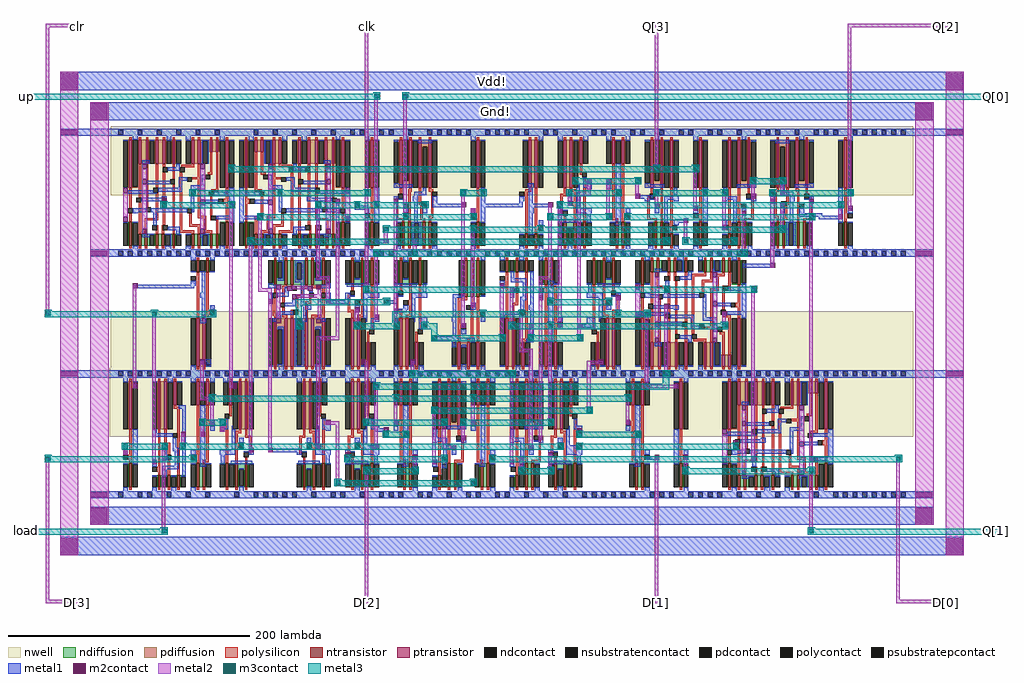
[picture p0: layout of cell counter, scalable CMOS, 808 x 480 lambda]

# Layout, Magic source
magic
tech scmos
<< metal1 >>
rect 30 425 778 440
rect 55 400 753 415
rect 30 387 778 393
rect 138 338 142 346
rect 210 338 214 346
rect 463 344 470 352
rect 626 338 630 348
rect 506 335 521 338
rect 274 326 285 329
rect 330 323 334 332
rect 338 331 342 334
rect 410 331 413 334
rect 338 328 365 331
rect 378 328 413 331
rect 418 328 437 331
rect 418 323 422 328
rect 626 323 630 332
rect 642 321 661 323
rect 642 320 677 321
rect 658 318 677 320
rect 539 315 549 318
rect 291 298 301 301
rect 55 287 753 293
rect 595 278 621 281
rect 90 261 141 264
rect 402 257 407 261
rect 202 248 206 257
rect 250 251 254 257
rect 266 251 269 256
rect 306 251 309 256
rect 530 253 534 262
rect 250 248 269 251
rect 298 248 309 251
rect 306 241 317 244
rect 327 228 334 236
rect 466 231 473 236
rect 458 228 473 231
rect 338 218 358 221
rect 354 212 358 218
rect 146 198 155 202
rect 30 187 778 193
rect 247 144 254 152
rect 291 142 301 145
rect 130 133 134 142
rect 202 125 229 128
rect 241 123 246 132
rect 281 126 294 131
rect 449 126 462 131
rect 114 119 119 123
rect 346 112 350 122
rect 410 112 414 122
rect 515 119 525 122
rect 602 118 606 127
rect 55 87 753 93
rect 55 65 753 80
rect 30 40 778 55
<< metal2 >>
rect 18 477 45 480
rect 18 238 21 477
rect 18 3 21 121
rect 30 40 45 440
rect 55 65 70 415
rect 90 178 93 264
rect 82 123 86 132
rect 106 115 109 241
rect 146 171 149 201
rect 170 178 173 331
rect 146 168 157 171
rect 114 58 117 131
rect 130 128 133 141
rect 146 138 149 151
rect 154 148 157 168
rect 162 142 166 152
rect 186 125 189 301
rect 194 261 197 321
rect 242 271 245 331
rect 242 268 253 271
rect 194 258 205 261
rect 202 125 205 258
rect 250 248 253 268
rect 258 221 261 334
rect 282 258 285 480
rect 290 328 293 421
rect 298 298 301 311
rect 274 228 277 244
rect 290 235 293 291
rect 306 228 309 334
rect 314 321 317 421
rect 522 358 525 480
rect 682 477 765 480
rect 466 341 469 351
rect 322 288 325 301
rect 362 228 365 341
rect 370 318 374 327
rect 370 245 373 311
rect 434 271 437 331
rect 426 268 437 271
rect 242 218 261 221
rect 394 218 397 264
rect 402 228 405 261
rect 242 128 245 218
rect 410 211 413 241
rect 418 218 421 231
rect 410 208 421 211
rect 250 148 261 151
rect 282 148 285 201
rect 320 188 323 201
rect 258 98 261 148
rect 290 128 293 181
rect 306 148 309 171
rect 18 0 45 3
rect 282 0 285 111
rect 322 108 325 122
rect 338 115 341 161
rect 346 131 349 151
rect 362 135 365 151
rect 370 148 373 171
rect 346 128 357 131
rect 402 115 405 191
rect 418 127 421 208
rect 426 135 429 268
rect 434 148 437 231
rect 442 228 445 331
rect 450 329 453 341
rect 458 338 469 341
rect 458 218 461 338
rect 482 318 485 351
rect 506 335 509 351
rect 522 327 525 341
rect 554 325 557 361
rect 546 298 549 318
rect 578 309 581 341
rect 602 335 605 351
rect 594 288 597 324
rect 618 278 621 341
rect 626 338 629 351
rect 626 308 629 331
rect 490 238 493 254
rect 466 198 479 201
rect 466 158 469 198
rect 514 181 517 241
rect 530 188 533 247
rect 578 228 581 241
rect 514 178 541 181
rect 498 148 501 171
rect 410 108 413 121
rect 434 108 437 124
rect 522 0 525 122
rect 546 108 549 122
rect 602 118 605 261
rect 650 58 653 334
rect 674 318 677 331
rect 682 325 685 477
rect 722 3 725 121
rect 738 65 753 415
rect 763 40 778 440
rect 722 0 765 3
<< metal3 >>
rect 0 417 294 422
rect 313 417 808 422
rect 169 357 558 362
rect 454 347 510 352
rect 601 347 630 352
rect 137 337 286 342
rect 361 337 382 342
rect 449 337 494 342
rect 521 337 582 342
rect 617 337 686 342
rect 113 327 174 332
rect 241 327 334 332
rect 441 327 678 332
rect 193 317 374 322
rect 433 317 486 322
rect 497 317 654 322
rect 297 307 630 312
rect 185 297 534 302
rect 545 297 590 302
rect 289 287 598 292
rect 281 257 606 262
rect 225 247 302 252
rect 433 247 486 252
rect 17 237 158 242
rect 225 227 230 247
rect 305 237 518 242
rect 305 232 310 237
rect 273 227 310 232
rect 329 227 342 232
rect 401 227 582 232
rect 337 222 342 227
rect 337 217 398 222
rect 417 217 462 222
rect 319 187 406 192
rect 529 182 534 192
rect 289 177 534 182
rect 153 167 502 172
rect 337 157 470 162
rect 145 147 166 152
rect 281 147 350 152
rect 361 147 438 152
rect 297 137 318 142
rect 457 137 510 142
rect 81 127 118 132
rect 129 127 446 132
rect 457 127 591 132
rect 17 117 142 122
rect 265 117 350 122
rect 385 117 726 122
rect 281 107 326 112
rect 409 107 438 112
rect 545 107 654 112
rect 257 97 374 102
rect 0 57 118 62
rect 649 57 808 62
use $$M2_M1_1500_1500_3_3  $$M2_M1_1500_1500_3_3_0
transform 1 0 37 0 1 432
box -7 -7 7 7
use $$M2_M1_1500_1500_3_3  $$M2_M1_1500_1500_3_3_1
transform 1 0 770 0 1 432
box -7 -7 7 7
use $$M3_M2  $$M3_M2_0
transform 1 0 292 0 1 420
box -3 -3 3 3
use $$M3_M2  $$M3_M2_1
transform 1 0 316 0 1 420
box -3 -3 3 3
use $$M2_M1_1500_1500_3_3  $$M2_M1_1500_1500_3_3_2
transform 1 0 62 0 1 407
box -7 -7 7 7
use $$M2_M1_1500_1500_3_3  $$M2_M1_1500_1500_3_3_3
transform 1 0 745 0 1 407
box -7 -7 7 7
use $$M2_M1_1500_1500_3_1  $$M2_M1_1500_1500_3_1_0
transform 1 0 37 0 1 390
box -7 -2 7 2
use $$M2_M1  $$M2_M1_0
transform 1 0 172 0 1 360
box -2 -2 2 2
use $$M3_M2  $$M3_M2_2
transform 1 0 172 0 1 360
box -3 -3 3 3
use $$M2_M1  $$M2_M1_1
transform 1 0 140 0 1 340
box -2 -2 2 2
use $$M3_M2  $$M3_M2_3
transform 1 0 140 0 1 340
box -3 -3 3 3
use $$M2_M1  $$M2_M1_2
transform 1 0 212 0 1 340
box -2 -2 2 2
use $$M3_M2  $$M3_M2_4
transform 1 0 212 0 1 340
box -3 -3 3 3
use $$M2_M1  $$M2_M1_3
transform 1 0 116 0 1 334
box -2 -2 2 2
use $$M3_M2  $$M3_M2_6
transform 1 0 116 0 1 330
box -3 -3 3 3
use $$M3_M2  $$M3_M2_7
transform 1 0 172 0 1 330
box -3 -3 3 3
use $$M3_M2  $$M3_M2_8
transform 1 0 244 0 1 330
box -3 -3 3 3
use $$M2_M1  $$M2_M1_4
transform 1 0 260 0 1 333
box -2 -2 2 2
use $$M2_M1  $$M2_M1_6
transform 1 0 196 0 1 320
box -2 -2 2 2
use $$M3_M2  $$M3_M2_11
transform 1 0 196 0 1 320
box -3 -3 3 3
use $$M3_M2  $$M3_M2_12
transform 1 0 188 0 1 300
box -3 -3 3 3
use $$M3_M2  $$M3_M2_5
transform 1 0 284 0 1 340
box -3 -3 3 3
use $$M2_M1  $$M2_M1_5
transform 1 0 276 0 1 330
box -2 -2 2 2
use $$M3_M2  $$M3_M2_9
transform 1 0 276 0 1 330
box -3 -3 3 3
use $$M3_M2  $$M3_M2_10
transform 1 0 292 0 1 330
box -3 -3 3 3
use $$M2_M1  $$M2_M1_7
transform 1 0 308 0 1 333
box -2 -2 2 2
use $$M3_M2  $$M3_M2_15
transform 1 0 300 0 1 310
box -3 -3 3 3
use $$M2_M1  $$M2_M1_10
transform 1 0 300 0 1 300
box -2 -2 2 2
use $$M2_M1  $$M2_M1_8
transform 1 0 332 0 1 330
box -2 -2 2 2
use $$M3_M2  $$M3_M2_13
transform 1 0 332 0 1 330
box -3 -3 3 3
use $$M2_M1  $$M2_M1_9
transform 1 0 316 0 1 322
box -2 -2 2 2
use $$M3_M2  $$M3_M2_14
transform 1 0 316 0 1 320
box -3 -3 3 3
use $$M2_M1  $$M2_M1_11
transform 1 0 324 0 1 300
box -2 -2 2 2
use $$M3_M2  $$M3_M2_19
transform 1 0 364 0 1 340
box -3 -3 3 3
use $$M2_M1  $$M2_M1_19
transform 1 0 364 0 1 330
box -2 -2 2 2
use $$M2_M1  $$M2_M1_15
transform 1 0 380 0 1 340
box -2 -2 2 2
use $$M3_M2  $$M3_M2_20
transform 1 0 380 0 1 340
box -3 -3 3 3
use $$M2_M1  $$M2_M1_21
transform 1 0 372 0 1 325
box -2 -2 2 2
use $$M3_M2  $$M3_M2_25
transform 1 0 372 0 1 320
box -3 -3 3 3
use $$M3_M2  $$M3_M2_29
transform 1 0 372 0 1 310
box -3 -3 3 3
use $$M2_M1  $$M2_M1_12
transform 1 0 457 0 1 350
box -2 -2 2 2
use $$M3_M2  $$M3_M2_17
transform 1 0 457 0 1 350
box -3 -3 3 3
use $$M2_M1  $$M2_M1_13
transform 1 0 468 0 1 350
box -2 -2 2 2
use $$M3_M2  $$M3_M2_21
transform 1 0 452 0 1 340
box -3 -3 3 3
use $$M2_M1  $$M2_M1_20
transform 1 0 436 0 1 330
box -2 -2 2 2
use $$M3_M2  $$M3_M2_24
transform 1 0 444 0 1 330
box -3 -3 3 3
use $$M2_M1  $$M2_M1_18
transform 1 0 452 0 1 331
box -2 -2 2 2
use $$M3_M2  $$M3_M2_26
transform 1 0 436 0 1 320
box -3 -3 3 3
use $$M2_M1  $$M2_M1_23
transform 1 0 444 0 1 323
box -2 -2 2 2
use $$M2_M1  $$M2_M1_25
transform 1 0 428 0 1 311
box -2 -2 2 2
use $$M3_M2  $$M3_M2_30
transform 1 0 428 0 1 310
box -3 -3 3 3
use $$M2_M1  $$M2_M1_14
transform 1 0 484 0 1 350
box -2 -2 2 2
use $$M2_M1  $$M2_M1_16
transform 1 0 492 0 1 340
box -2 -2 2 2
use $$M3_M2  $$M3_M2_22
transform 1 0 492 0 1 340
box -3 -3 3 3
use $$M3_M2  $$M3_M2_27
transform 1 0 484 0 1 320
box -3 -3 3 3
use $$M3_M2  $$M3_M2_18
transform 1 0 508 0 1 350
box -3 -3 3 3
use $$M2_M1  $$M2_M1_17
transform 1 0 508 0 1 337
box -2 -2 2 2
use $$M2_M1  $$M2_M1_24
transform 1 0 500 0 1 321
box -2 -2 2 2
use $$M3_M2  $$M3_M2_28
transform 1 0 500 0 1 320
box -3 -3 3 3
use $$M3_M2  $$M3_M2_16
transform 1 0 524 0 1 360
box -3 -3 3 3
use $$M3_M2  $$M3_M2_23
transform 1 0 524 0 1 340
box -3 -3 3 3
use $$M2_M1  $$M2_M1_22
transform 1 0 524 0 1 329
box -2 -2 2 2
use $$M2_M1  $$M2_M1_29
transform 1 0 532 0 1 300
box -2 -2 2 2
use $$M3_M2  $$M3_M2_33
transform 1 0 532 0 1 300
box -3 -3 3 3
use $$M3_M2  $$M3_M2_31
transform 1 0 556 0 1 360
box -3 -3 3 3
use $$M2_M1  $$M2_M1_26
transform 1 0 564 0 1 340
box -2 -2 2 2
use $$M3_M2  $$M3_M2_32
transform 1 0 564 0 1 340
box -3 -3 3 3
use $$M3_M2  $$M3_M2_38
transform 1 0 580 0 1 340
box -3 -3 3 3
use $$M2_M1  $$M2_M1_27
transform 1 0 556 0 1 327
box -2 -2 2 2
use $$M2_M1  $$M2_M1_28
transform 1 0 548 0 1 317
box -2 -2 2 2
use $$M3_M2  $$M3_M2_34
transform 1 0 548 0 1 300
box -3 -3 3 3
use $$M3_M2  $$M3_M2_37
transform 1 0 604 0 1 350
box -3 -3 3 3
use $$M2_M1  $$M2_M1_30
transform 1 0 604 0 1 337
box -2 -2 2 2
use $$M2_M1  $$M2_M1_31
transform 1 0 596 0 1 323
box -2 -2 2 2
use $$M2_M1  $$M2_M1_32
transform 1 0 580 0 1 311
box -2 -2 2 2
use $$M2_M1  $$M2_M1_33
transform 1 0 588 0 1 300
box -2 -2 2 2
use $$M3_M2  $$M3_M2_39
transform 1 0 588 0 1 300
box -3 -3 3 3
use $$M3_M2  $$M3_M2_41
transform 1 0 628 0 1 350
box -3 -3 3 3
use $$M3_M2  $$M3_M2_42
transform 1 0 620 0 1 340
box -3 -3 3 3
use $$M2_M1  $$M2_M1_34
transform 1 0 628 0 1 340
box -2 -2 2 2
use $$M2_M1  $$M2_M1_35
transform 1 0 620 0 1 333
box -2 -2 2 2
use $$M2_M1  $$M2_M1_37
transform 1 0 628 0 1 330
box -2 -2 2 2
use $$M2_M1  $$M2_M1_36
transform 1 0 652 0 1 333
box -2 -2 2 2
use $$M3_M2  $$M3_M2_43
transform 1 0 652 0 1 320
box -3 -3 3 3
use $$M3_M2  $$M3_M2_44
transform 1 0 628 0 1 310
box -3 -3 3 3
use $$M3_M2  $$M3_M2_45
transform 1 0 684 0 1 340
box -3 -3 3 3
use $$M3_M2  $$M3_M2_46
transform 1 0 676 0 1 330
box -3 -3 3 3
use $$M2_M1  $$M2_M1_38
transform 1 0 684 0 1 327
box -2 -2 2 2
use $$M2_M1  $$M2_M1_39
transform 1 0 676 0 1 320
box -2 -2 2 2
use $$M2_M1_1500_1500_3_1  $$M2_M1_1500_1500_3_1_2
transform 1 0 770 0 1 390
box -7 -2 7 2
use $$M2_M1_1500_1500_3_1  $$M2_M1_1500_1500_3_1_1
transform 1 0 62 0 1 290
box -7 -2 7 2
use DFFPOSX1  DFFPOSX1_0
transform 1 0 80 0 1 290
box -8 -3 104 105
use DFFPOSX1  DFFPOSX1_1
transform -1 0 272 0 1 290
box -8 -3 104 105
use FILL  FILL_0
transform -1 0 280 0 1 290
box -8 -3 16 105
use $$M3_M2  $$M3_M2_35
transform 1 0 292 0 1 290
box -3 -3 3 3
use INVX2  INVX2_0
transform 1 0 280 0 1 290
box -9 -3 26 105
use FILL  FILL_1
transform -1 0 304 0 1 290
box -8 -3 16 105
use $$M3_M2  $$M3_M2_36
transform 1 0 324 0 1 290
box -3 -3 3 3
use AOI22X1  AOI22X1_0
transform 1 0 304 0 1 290
box -8 -3 46 105
use FILL  FILL_2
transform -1 0 352 0 1 290
box -8 -3 16 105
use FILL  FILL_3
transform -1 0 360 0 1 290
box -8 -3 16 105
use FILL  FILL_4
transform -1 0 368 0 1 290
box -8 -3 16 105
use INVX2  INVX2_1
transform 1 0 368 0 1 290
box -9 -3 26 105
use FILL  FILL_5
transform -1 0 392 0 1 290
box -8 -3 16 105
use FILL  FILL_6
transform -1 0 400 0 1 290
box -8 -3 16 105
use FILL  FILL_7
transform -1 0 408 0 1 290
box -8 -3 16 105
use NOR2X1  NOR2X1_0
transform -1 0 432 0 1 290
box -8 -3 32 105
use FILL  FILL_8
transform -1 0 440 0 1 290
box -8 -3 16 105
use OAI21X1  OAI21X1_0
transform 1 0 440 0 1 290
box -8 -3 34 105
use FILL  FILL_9
transform -1 0 480 0 1 290
box -8 -3 16 105
use NAND2X1  NAND2X1_0
transform -1 0 504 0 1 290
box -8 -3 32 105
use FILL  FILL_10
transform -1 0 512 0 1 290
box -8 -3 16 105
use AOI21X1  AOI21X1_0
transform 1 0 512 0 1 290
box -7 -3 39 105
use FILL  FILL_31
transform -1 0 552 0 1 290
box -8 -3 16 105
use INVX2  INVX2_2
transform 1 0 552 0 1 290
box -9 -3 26 105
use FILL  FILL_32
transform -1 0 576 0 1 290
box -8 -3 16 105
use $$M3_M2  $$M3_M2_40
transform 1 0 596 0 1 290
box -3 -3 3 3
use AOI21X1  AOI21X1_1
transform -1 0 608 0 1 290
box -7 -3 39 105
use FILL  FILL_35
transform -1 0 616 0 1 290
box -8 -3 16 105
use AOI22X1  AOI22X1_1
transform -1 0 656 0 1 290
box -8 -3 46 105
use FILL  FILL_36
transform -1 0 664 0 1 290
box -8 -3 16 105
use FILL  FILL_37
transform -1 0 672 0 1 290
box -8 -3 16 105
use INVX2  INVX2_3
transform -1 0 688 0 1 290
box -9 -3 26 105
use FILL  FILL_38
transform -1 0 696 0 1 290
box -8 -3 16 105
use FILL  FILL_39
transform -1 0 704 0 1 290
box -8 -3 16 105
use FILL  FILL_40
transform -1 0 712 0 1 290
box -8 -3 16 105
use FILL  FILL_41
transform -1 0 720 0 1 290
box -8 -3 16 105
use FILL  FILL_42
transform -1 0 728 0 1 290
box -8 -3 16 105
use $$M2_M1_1500_1500_3_1  $$M2_M1_1500_1500_3_1_3
transform 1 0 745 0 1 290
box -7 -2 7 2
use $$M3_M2  $$M3_M2_53
transform 1 0 20 0 1 240
box -3 -3 3 3
use $$M2_M1  $$M2_M1_41
transform 1 0 92 0 1 263
box -2 -2 2 2
use $$M3_M2  $$M3_M2_54
transform 1 0 108 0 1 240
box -3 -3 3 3
use $$M2_M1  $$M2_M1_53
transform 1 0 156 0 1 241
box -2 -2 2 2
use $$M3_M2  $$M3_M2_55
transform 1 0 156 0 1 240
box -3 -3 3 3
use $$M2_M1  $$M2_M1_67
transform 1 0 148 0 1 200
box -2 -2 2 2
use $$M2_M1  $$M2_M1_47
transform 1 0 204 0 1 250
box -2 -2 2 2
use $$M2_M1  $$M2_M1_48
transform 1 0 252 0 1 250
box -2 -2 2 2
use $$M2_M1  $$M2_M1_60
transform 1 0 228 0 1 230
box -2 -2 2 2
use $$M3_M2  $$M3_M2_60
transform 1 0 228 0 1 230
box -3 -3 3 3
use $$M3_M2  $$M3_M2_47
transform 1 0 284 0 1 260
box -3 -3 3 3
use $$M2_M1  $$M2_M1_51
transform 1 0 276 0 1 243
box -2 -2 2 2
use $$M2_M1  $$M2_M1_49
transform 1 0 300 0 1 250
box -2 -2 2 2
use $$M3_M2  $$M3_M2_50
transform 1 0 300 0 1 250
box -3 -3 3 3
use $$M2_M1  $$M2_M1_59
transform 1 0 292 0 1 237
box -2 -2 2 2
use $$M3_M2  $$M3_M2_61
transform 1 0 276 0 1 230
box -3 -3 3 3
use $$M2_M1  $$M2_M1_68
transform 1 0 281 0 1 200
box -2 -2 2 2
use $$M2_M1  $$M2_M1_52
transform 1 0 308 0 1 242
box -2 -2 2 2
use $$M3_M2  $$M3_M2_62
transform 1 0 308 0 1 230
box -3 -3 3 3
use $$M2_M1  $$M2_M1_61
transform 1 0 332 0 1 230
box -2 -2 2 2
use $$M3_M2  $$M3_M2_63
transform 1 0 332 0 1 230
box -3 -3 3 3
use $$M2_M1  $$M2_M1_69
transform 1 0 322 0 1 200
box -2 -2 2 2
use $$M2_M1  $$M2_M1_66
transform 1 0 340 0 1 220
box -2 -2 2 2
use $$M3_M2  $$M3_M2_67
transform 1 0 340 0 1 220
box -3 -3 3 3
use $$M2_M1  $$M2_M1_50
transform 1 0 372 0 1 247
box -2 -2 2 2
use $$M2_M1  $$M2_M1_57
transform 1 0 380 0 1 240
box -2 -2 2 2
use $$M3_M2  $$M3_M2_56
transform 1 0 380 0 1 240
box -3 -3 3 3
use $$M2_M1  $$M2_M1_62
transform 1 0 364 0 1 230
box -2 -2 2 2
use $$M2_M1  $$M2_M1_42
transform 1 0 396 0 1 263
box -2 -2 2 2
use $$M2_M1  $$M2_M1_43
transform 1 0 404 0 1 260
box -2 -2 2 2
use $$M2_M1  $$M2_M1_45
transform 1 0 428 0 1 253
box -2 -2 2 2
use $$M3_M2  $$M3_M2_57
transform 1 0 412 0 1 240
box -3 -3 3 3
use $$M3_M2  $$M3_M2_64
transform 1 0 404 0 1 230
box -3 -3 3 3
use $$M2_M1  $$M2_M1_54
transform 1 0 436 0 1 250
box -2 -2 2 2
use $$M3_M2  $$M3_M2_51
transform 1 0 436 0 1 250
box -3 -3 3 3
use $$M2_M1  $$M2_M1_63
transform 1 0 420 0 1 230
box -2 -2 2 2
use $$M3_M2  $$M3_M2_68
transform 1 0 396 0 1 220
box -3 -3 3 3
use $$M3_M2  $$M3_M2_65
transform 1 0 436 0 1 230
box -3 -3 3 3
use $$M2_M1  $$M2_M1_64
transform 1 0 444 0 1 230
box -2 -2 2 2
use $$M3_M2  $$M3_M2_69
transform 1 0 420 0 1 220
box -3 -3 3 3
use $$M2_M1  $$M2_M1_65
transform 1 0 460 0 1 230
box -2 -2 2 2
use $$M3_M2  $$M3_M2_70
transform 1 0 460 0 1 220
box -3 -3 3 3
use $$M2_M1  $$M2_M1_55
transform 1 0 484 0 1 249
box -2 -2 2 2
use $$M3_M2  $$M3_M2_52
transform 1 0 484 0 1 250
box -3 -3 3 3
use $$M2_M1  $$M2_M1_46
transform 1 0 492 0 1 253
box -2 -2 2 2
use $$M3_M2  $$M3_M2_58
transform 1 0 492 0 1 240
box -3 -3 3 3
use $$M2_M1  $$M2_M1_70
transform 1 0 478 0 1 200
box -2 -2 2 2
use $$M2_M1  $$M2_M1_44
transform 1 0 532 0 1 260
box -2 -2 2 2
use $$M3_M2  $$M3_M2_48
transform 1 0 532 0 1 260
box -3 -3 3 3
use $$M2_M1  $$M2_M1_56
transform 1 0 532 0 1 246
box -2 -2 2 2
use $$M3_M2  $$M3_M2_59
transform 1 0 516 0 1 240
box -3 -3 3 3
use $$M2_M1  $$M2_M1_58
transform 1 0 580 0 1 240
box -2 -2 2 2
use $$M3_M2  $$M3_M2_66
transform 1 0 580 0 1 230
box -3 -3 3 3
use $$M3_M2  $$M3_M2_49
transform 1 0 604 0 1 260
box -3 -3 3 3
use $$M2_M1  $$M2_M1_40
transform 1 0 620 0 1 280
box -2 -2 2 2
use $$M2_M1_1500_1500_3_1  $$M2_M1_1500_1500_3_1_4
transform 1 0 37 0 1 190
box -7 -2 7 2
use FILL  FILL_11
transform 1 0 80 0 -1 290
box -8 -3 16 105
use FILL  FILL_12
transform 1 0 88 0 -1 290
box -8 -3 16 105
use FILL  FILL_13
transform 1 0 96 0 -1 290
box -8 -3 16 105
use FILL  FILL_14
transform 1 0 104 0 -1 290
box -8 -3 16 105
use FILL  FILL_15
transform 1 0 112 0 -1 290
box -8 -3 16 105
use FILL  FILL_16
transform 1 0 120 0 -1 290
box -8 -3 16 105
use FILL  FILL_17
transform 1 0 128 0 -1 290
box -8 -3 16 105
use NOR2X1  NOR2X1_1
transform 1 0 136 0 -1 290
box -8 -3 32 105
use FILL  FILL_18
transform 1 0 160 0 -1 290
box -8 -3 16 105
use FILL  FILL_19
transform 1 0 168 0 -1 290
box -8 -3 16 105
use FILL  FILL_20
transform 1 0 176 0 -1 290
box -8 -3 16 105
use FILL  FILL_21
transform 1 0 184 0 -1 290
box -8 -3 16 105
use FILL  FILL_22
transform 1 0 192 0 -1 290
box -8 -3 16 105
use XNOR2X1  XNOR2X1_0
transform 1 0 200 0 -1 290
box -8 -3 64 105
use FILL  FILL_23
transform 1 0 256 0 -1 290
box -8 -3 16 105
use OAI21X1  OAI21X1_1
transform 1 0 264 0 -1 290
box -8 -3 34 105
use FILL  FILL_24
transform 1 0 296 0 -1 290
box -8 -3 16 105
use $$M3_M2  $$M3_M2_73
transform 1 0 322 0 1 190
box -3 -3 3 3
use OAI21X1  OAI21X1_2
transform 1 0 304 0 -1 290
box -8 -3 34 105
use FILL  FILL_25
transform 1 0 336 0 -1 290
box -8 -3 16 105
use FILL  FILL_26
transform 1 0 344 0 -1 290
box -8 -3 16 105
use NAND3X1  NAND3X1_0
transform -1 0 384 0 -1 290
box -8 -3 40 105
use FILL  FILL_27
transform 1 0 384 0 -1 290
box -8 -3 16 105
use $$M3_M2  $$M3_M2_75
transform 1 0 404 0 1 190
box -3 -3 3 3
use OR2X1  OR2X1_0
transform 1 0 392 0 -1 290
box -8 -3 40 105
use NAND2X1  NAND2X1_1
transform 1 0 424 0 -1 290
box -8 -3 32 105
use FILL  FILL_28
transform 1 0 448 0 -1 290
box -8 -3 16 105
use FILL  FILL_29
transform 1 0 456 0 -1 290
box -8 -3 16 105
use OAI21X1  OAI21X1_3
transform -1 0 496 0 -1 290
box -8 -3 34 105
use FILL  FILL_30
transform 1 0 496 0 -1 290
box -8 -3 16 105
use $$M3_M2  $$M3_M2_93
transform 1 0 532 0 1 190
box -3 -3 3 3
use DFFPOSX1  DFFPOSX1_2
transform 1 0 504 0 -1 290
box -8 -3 104 105
use FILL  FILL_33
transform 1 0 600 0 -1 290
box -8 -3 16 105
use FILL  FILL_34
transform 1 0 608 0 -1 290
box -8 -3 16 105
use FILL  FILL_43
transform 1 0 616 0 -1 290
box -8 -3 16 105
use FILL  FILL_44
transform 1 0 624 0 -1 290
box -8 -3 16 105
use FILL  FILL_45
transform 1 0 632 0 -1 290
box -8 -3 16 105
use FILL  FILL_46
transform 1 0 640 0 -1 290
box -8 -3 16 105
use FILL  FILL_47
transform 1 0 648 0 -1 290
box -8 -3 16 105
use FILL  FILL_48
transform 1 0 656 0 -1 290
box -8 -3 16 105
use FILL  FILL_49
transform 1 0 664 0 -1 290
box -8 -3 16 105
use FILL  FILL_50
transform 1 0 672 0 -1 290
box -8 -3 16 105
use FILL  FILL_51
transform 1 0 680 0 -1 290
box -8 -3 16 105
use FILL  FILL_52
transform 1 0 688 0 -1 290
box -8 -3 16 105
use FILL  FILL_53
transform 1 0 696 0 -1 290
box -8 -3 16 105
use FILL  FILL_54
transform 1 0 704 0 -1 290
box -8 -3 16 105
use FILL  FILL_55
transform 1 0 712 0 -1 290
box -8 -3 16 105
use FILL  FILL_56
transform 1 0 720 0 -1 290
box -8 -3 16 105
use $$M2_M1_1500_1500_3_1  $$M2_M1_1500_1500_3_1_6
transform 1 0 770 0 1 190
box -7 -2 7 2
use $$M2_M1  $$M2_M1_71
transform 1 0 92 0 1 180
box -2 -2 2 2
use $$M3_M2  $$M3_M2_71
transform 1 0 84 0 1 130
box -3 -3 3 3
use $$M2_M1  $$M2_M1_72
transform 1 0 84 0 1 125
box -2 -2 2 2
use $$M3_M2  $$M3_M2_72
transform 1 0 20 0 1 120
box -3 -3 3 3
use $$M2_M1_1500_1500_3_1  $$M2_M1_1500_1500_3_1_5
transform 1 0 62 0 1 90
box -7 -2 7 2
use INVX2  INVX2_4
transform 1 0 80 0 1 90
box -9 -3 26 105
use $$M2_M1  $$M2_M1_73
transform 1 0 174 0 1 180
box -2 -2 2 2
use $$M3_M2  $$M3_M2_76
transform 1 0 156 0 1 170
box -3 -3 3 3
use $$M3_M2  $$M3_M2_80
transform 1 0 148 0 1 150
box -3 -3 3 3
use $$M2_M1  $$M2_M1_74
transform 1 0 156 0 1 150
box -2 -2 2 2
use $$M3_M2  $$M3_M2_81
transform 1 0 164 0 1 150
box -3 -3 3 3
use $$M2_M1  $$M2_M1_78
transform 1 0 164 0 1 144
box -2 -2 2 2
use $$M2_M1  $$M2_M1_80
transform 1 0 132 0 1 140
box -2 -2 2 2
use $$M2_M1  $$M2_M1_81
transform 1 0 148 0 1 140
box -2 -2 2 2
use $$M3_M2  $$M3_M2_87
transform 1 0 116 0 1 130
box -3 -3 3 3
use $$M3_M2  $$M3_M2_88
transform 1 0 132 0 1 130
box -3 -3 3 3
use $$M2_M1  $$M2_M1_111
transform 1 0 108 0 1 117
box -2 -2 2 2
use $$M2_M1  $$M2_M1_94
transform 1 0 116 0 1 120
box -2 -2 2 2
use FILL  FILL_57
transform -1 0 104 0 1 90
box -8 -3 16 105
use $$M2_M1  $$M2_M1_93
transform 1 0 140 0 1 121
box -2 -2 2 2
use $$M3_M2  $$M3_M2_92
transform 1 0 140 0 1 120
box -3 -3 3 3
use OR2X1  OR2X1_1
transform 1 0 104 0 1 90
box -8 -3 40 105
use NAND2X1  NAND2X1_2
transform 1 0 136 0 1 90
box -8 -3 32 105
use $$M2_M1  $$M2_M1_84
transform 1 0 180 0 1 131
box -2 -2 2 2
use $$M3_M2  $$M3_M2_89
transform 1 0 180 0 1 130
box -3 -3 3 3
use $$M2_M1  $$M2_M1_90
transform 1 0 188 0 1 127
box -2 -2 2 2
use OAI21X1  OAI21X1_4
transform -1 0 192 0 1 90
box -8 -3 34 105
use $$M2_M1  $$M2_M1_91
transform 1 0 204 0 1 127
box -2 -2 2 2
use FILL  FILL_58
transform -1 0 200 0 1 90
box -8 -3 16 105
use FILL  FILL_59
transform -1 0 208 0 1 90
box -8 -3 16 105
use FILL  FILL_60
transform -1 0 216 0 1 90
box -8 -3 16 105
use FILL  FILL_61
transform -1 0 224 0 1 90
box -8 -3 16 105
use $$M2_M1  $$M2_M1_75
transform 1 0 252 0 1 150
box -2 -2 2 2
use $$M2_M1  $$M2_M1_85
transform 1 0 236 0 1 131
box -2 -2 2 2
use $$M3_M2  $$M3_M2_90
transform 1 0 236 0 1 130
box -3 -3 3 3
use $$M2_M1  $$M2_M1_87
transform 1 0 244 0 1 130
box -2 -2 2 2
use $$M3_M2  $$M3_M2_74
transform 1 0 292 0 1 180
box -3 -3 3 3
use $$M3_M2  $$M3_M2_82
transform 1 0 284 0 1 150
box -3 -3 3 3
use $$M2_M1  $$M2_M1_86
transform 1 0 276 0 1 131
box -2 -2 2 2
use $$M3_M2  $$M3_M2_91
transform 1 0 276 0 1 130
box -3 -3 3 3
use $$M3_M2  $$M3_M2_77
transform 1 0 308 0 1 170
box -3 -3 3 3
use $$M2_M1  $$M2_M1_76
transform 1 0 308 0 1 150
box -2 -2 2 2
use $$M2_M1  $$M2_M1_79
transform 1 0 300 0 1 144
box -2 -2 2 2
use $$M3_M2  $$M3_M2_85
transform 1 0 300 0 1 140
box -3 -3 3 3
use $$M2_M1  $$M2_M1_82
transform 1 0 316 0 1 140
box -2 -2 2 2
use $$M3_M2  $$M3_M2_86
transform 1 0 316 0 1 140
box -3 -3 3 3
use $$M2_M1  $$M2_M1_88
transform 1 0 292 0 1 130
box -2 -2 2 2
use $$M2_M1  $$M2_M1_92
transform 1 0 268 0 1 123
box -2 -2 2 2
use $$M3_M2  $$M3_M2_101
transform 1 0 268 0 1 120
box -3 -3 3 3
use $$M3_M2  $$M3_M2_105
transform 1 0 284 0 1 110
box -3 -3 3 3
use $$M3_M2  $$M3_M2_107
transform 1 0 260 0 1 100
box -3 -3 3 3
use OAI21X1  OAI21X1_5
transform 1 0 224 0 1 90
box -8 -3 34 105
use FILL  FILL_62
transform -1 0 264 0 1 90
box -8 -3 16 105
use OAI21X1  OAI21X1_6
transform 1 0 264 0 1 90
box -8 -3 34 105
use FILL  FILL_63
transform -1 0 304 0 1 90
box -8 -3 16 105
use $$M2_M1  $$M2_M1_95
transform 1 0 324 0 1 121
box -2 -2 2 2
use $$M3_M2  $$M3_M2_106
transform 1 0 324 0 1 110
box -3 -3 3 3
use NAND2X1  NAND2X1_3
transform -1 0 328 0 1 90
box -8 -3 32 105
use $$M3_M2  $$M3_M2_79
transform 1 0 340 0 1 160
box -3 -3 3 3
use $$M3_M2  $$M3_M2_78
transform 1 0 372 0 1 170
box -3 -3 3 3
use $$M3_M2  $$M3_M2_83
transform 1 0 348 0 1 150
box -3 -3 3 3
use $$M3_M2  $$M3_M2_84
transform 1 0 364 0 1 150
box -3 -3 3 3
use $$M2_M1  $$M2_M1_77
transform 1 0 372 0 1 150
box -2 -2 2 2
use $$M2_M1  $$M2_M1_83
transform 1 0 364 0 1 137
box -2 -2 2 2
use $$M2_M1  $$M2_M1_89
transform 1 0 356 0 1 129
box -2 -2 2 2
use $$M2_M1  $$M2_M1_112
transform 1 0 340 0 1 117
box -2 -2 2 2
use $$M2_M1  $$M2_M1_105
transform 1 0 348 0 1 120
box -2 -2 2 2
use $$M3_M2  $$M3_M2_102
transform 1 0 348 0 1 120
box -3 -3 3 3
use FILL  FILL_64
transform -1 0 336 0 1 90
box -8 -3 16 105
use $$M2_M1  $$M2_M1_113
transform 1 0 372 0 1 100
box -2 -2 2 2
use $$M3_M2  $$M3_M2_108
transform 1 0 372 0 1 100
box -3 -3 3 3
use AOI21X1  AOI21X1_2
transform -1 0 368 0 1 90
box -7 -3 39 105
use $$M2_M1  $$M2_M1_106
transform 1 0 388 0 1 121
box -2 -2 2 2
use $$M3_M2  $$M3_M2_103
transform 1 0 388 0 1 120
box -3 -3 3 3
use NAND2X1  NAND2X1_4
transform -1 0 392 0 1 90
box -8 -3 32 105
use $$M3_M2  $$M3_M2_96
transform 1 0 436 0 1 150
box -3 -3 3 3
use $$M2_M1  $$M2_M1_100
transform 1 0 428 0 1 137
box -2 -2 2 2
use $$M2_M1  $$M2_M1_103
transform 1 0 420 0 1 129
box -2 -2 2 2
use $$M3_M2  $$M3_M2_95
transform 1 0 468 0 1 160
box -3 -3 3 3
use $$M2_M1  $$M2_M1_98
transform 1 0 460 0 1 143
box -2 -2 2 2
use $$M3_M2  $$M3_M2_97
transform 1 0 460 0 1 140
box -3 -3 3 3
use $$M2_M1  $$M2_M1_101
transform 1 0 444 0 1 131
box -2 -2 2 2
use $$M3_M2  $$M3_M2_99
transform 1 0 444 0 1 130
box -3 -3 3 3
use $$M2_M1  $$M2_M1_102
transform 1 0 460 0 1 130
box -2 -2 2 2
use $$M3_M2  $$M3_M2_100
transform 1 0 460 0 1 130
box -3 -3 3 3
use $$M2_M1  $$M2_M1_114
transform 1 0 404 0 1 117
box -2 -2 2 2
use $$M2_M1  $$M2_M1_110
transform 1 0 412 0 1 120
box -2 -2 2 2
use $$M2_M1  $$M2_M1_104
transform 1 0 436 0 1 123
box -2 -2 2 2
use FILL  FILL_65
transform -1 0 400 0 1 90
box -8 -3 16 105
use $$M3_M2  $$M3_M2_109
transform 1 0 412 0 1 110
box -3 -3 3 3
use $$M3_M2  $$M3_M2_110
transform 1 0 436 0 1 110
box -3 -3 3 3
use AOI21X1  AOI21X1_3
transform -1 0 432 0 1 90
box -7 -3 39 105
use OAI21X1  OAI21X1_7
transform 1 0 432 0 1 90
box -8 -3 34 105
use FILL  FILL_66
transform -1 0 472 0 1 90
box -8 -3 16 105
use FILL  FILL_67
transform -1 0 480 0 1 90
box -8 -3 16 105
use FILL  FILL_68
transform -1 0 488 0 1 90
box -8 -3 16 105
use $$M3_M2  $$M3_M2_94
transform 1 0 500 0 1 170
box -3 -3 3 3
use $$M2_M1  $$M2_M1_97
transform 1 0 500 0 1 150
box -2 -2 2 2
use FILL  FILL_69
transform -1 0 496 0 1 90
box -8 -3 16 105
use $$M2_M1  $$M2_M1_99
transform 1 0 508 0 1 140
box -2 -2 2 2
use $$M3_M2  $$M3_M2_98
transform 1 0 508 0 1 140
box -3 -3 3 3
use $$M2_M1  $$M2_M1_108
transform 1 0 524 0 1 121
box -2 -2 2 2
use NAND2X1  NAND2X1_5
transform -1 0 520 0 1 90
box -8 -3 32 105
use FILL  FILL_70
transform -1 0 528 0 1 90
box -8 -3 16 105
use $$M2_M1  $$M2_M1_96
transform 1 0 540 0 1 180
box -2 -2 2 2
use FILL  FILL_71
transform -1 0 536 0 1 90
box -8 -3 16 105
use $$M2_M1  $$M2_M1_109
transform 1 0 548 0 1 121
box -2 -2 2 2
use $$M3_M2  $$M3_M2_112
transform 1 0 548 0 1 110
box -3 -3 3 3
use INVX2  INVX2_5
transform -1 0 552 0 1 90
box -9 -3 26 105
use FILL  FILL_72
transform -1 0 560 0 1 90
box -8 -3 16 105
use FILL  FILL_73
transform -1 0 568 0 1 90
box -8 -3 16 105
use FILL  FILL_74
transform -1 0 576 0 1 90
box -8 -3 16 105
use $$M2_M1  $$M2_M1_107
transform 1 0 589 0 1 133
box -2 -2 2 2
use $$M3_M2  $$M3_M2_104
transform 1 0 589 0 1 130
box -3 -3 3 3
use $$M2_M1  $$M2_M1_115
transform 1 0 604 0 1 120
box -2 -2 2 2
use $$M2_M1  $$M2_M1_116
transform 1 0 652 0 1 120
box -2 -2 2 2
use $$M3_M2  $$M3_M2_113
transform 1 0 652 0 1 110
box -3 -3 3 3
use DFFPOSX1  DFFPOSX1_3
transform 1 0 576 0 1 90
box -8 -3 104 105
use FILL  FILL_75
transform -1 0 680 0 1 90
box -8 -3 16 105
use FILL  FILL_76
transform -1 0 688 0 1 90
box -8 -3 16 105
use FILL  FILL_77
transform -1 0 696 0 1 90
box -8 -3 16 105
use FILL  FILL_78
transform -1 0 704 0 1 90
box -8 -3 16 105
use FILL  FILL_79
transform -1 0 712 0 1 90
box -8 -3 16 105
use $$M3_M2  $$M3_M2_111
transform 1 0 724 0 1 120
box -3 -3 3 3
use FILL  FILL_80
transform -1 0 720 0 1 90
box -8 -3 16 105
use FILL  FILL_81
transform -1 0 728 0 1 90
box -8 -3 16 105
use $$M2_M1_1500_1500_3_1  $$M2_M1_1500_1500_3_1_7
transform 1 0 745 0 1 90
box -7 -2 7 2
use $$M2_M1_1500_1500_3_3  $$M2_M1_1500_1500_3_3_4
transform 1 0 62 0 1 72
box -7 -7 7 7
use $$M2_M1_1500_1500_3_3  $$M2_M1_1500_1500_3_3_5
transform 1 0 745 0 1 72
box -7 -7 7 7
use $$M3_M2  $$M3_M2_114
transform 1 0 116 0 1 60
box -3 -3 3 3
use $$M3_M2  $$M3_M2_115
transform 1 0 652 0 1 60
box -3 -3 3 3
use $$M2_M1_1500_1500_3_3  $$M2_M1_1500_1500_3_3_6
transform 1 0 37 0 1 47
box -7 -7 7 7
use $$M2_M1_1500_1500_3_3  $$M2_M1_1500_1500_3_3_7
transform 1 0 770 0 1 47
box -7 -7 7 7
<< labels >>
flabel metal3 2 60 2 60 4 FreeSans 26 0 0 0 load
flabel metal3 2 420 2 420 4 FreeSans 26 0 0 0 up
flabel metal2 44 478 44 478 4 FreeSans 26 0 0 0 clr
flabel metal2 524 478 524 478 4 FreeSans 26 0 0 0 Q[3]
flabel metal2 764 478 764 478 4 FreeSans 26 0 0 0 Q[2]
flabel metal2 284 478 284 478 4 FreeSans 26 0 0 0 clk
flabel metal3 805 420 805 420 4 FreeSans 26 0 0 0 Q[0]
flabel metal3 805 60 805 60 4 FreeSans 26 0 0 0 Q[1]
flabel metal2 764 1 764 1 4 FreeSans 26 0 0 0 D[0]
flabel metal2 44 1 44 1 4 FreeSans 26 0 0 0 D[3]
flabel metal2 524 1 524 1 4 FreeSans 26 0 0 0 D[1]
flabel metal2 284 1 284 1 4 FreeSans 26 0 0 0 D[2]
rlabel metal1 388 432 388 432 1 Vdd!
rlabel metal1 390 407 390 407 1 Gnd!
<< end >>

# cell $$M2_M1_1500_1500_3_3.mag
magic
tech scmos
<< m2contact >>
rect -7 -7 7 7
<< end >>

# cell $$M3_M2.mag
magic
tech scmos
<< m3contact >>
rect -2 -2 2 2
<< metal3 >>
rect -3 2 3 3
rect -3 -2 -2 2
rect 2 -2 3 2
rect -3 -3 3 -2
<< end >>

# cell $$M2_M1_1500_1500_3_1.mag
magic
tech scmos
<< m2contact >>
rect -7 -2 7 2
<< end >>

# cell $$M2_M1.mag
magic
tech scmos
<< m2contact >>
rect -2 -2 2 2
<< end >>

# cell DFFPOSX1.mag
magic
tech scmos
<< nwell >>
rect -8 48 104 105
<< ntransistor >>
rect 7 6 9 26
rect 15 6 17 16
rect 20 6 22 16
rect 29 6 31 16
rect 34 6 36 16
rect 43 6 45 16
rect 59 6 61 16
rect 64 6 66 16
rect 74 6 76 16
rect 79 6 81 16
rect 87 6 89 26
<< ptransistor >>
rect 7 54 9 94
rect 15 74 17 94
rect 21 74 23 94
rect 29 74 31 94
rect 35 74 37 94
rect 43 74 45 94
rect 59 74 61 94
rect 64 74 66 94
rect 74 84 76 94
rect 79 84 81 94
rect 87 54 89 94
<< ndiffusion >>
rect 2 25 7 26
rect 6 6 7 25
rect 9 25 14 26
rect 9 6 10 25
rect 82 25 87 26
rect 14 6 15 16
rect 17 6 20 16
rect 22 15 29 16
rect 22 6 24 15
rect 28 6 29 15
rect 31 6 34 16
rect 36 15 43 16
rect 36 6 37 15
rect 41 6 43 15
rect 45 15 50 16
rect 45 6 46 15
rect 54 15 59 16
rect 58 6 59 15
rect 61 6 64 16
rect 66 15 74 16
rect 66 6 68 15
rect 72 6 74 15
rect 76 6 79 16
rect 81 6 82 16
rect 86 6 87 25
rect 89 25 94 26
rect 89 6 90 25
<< pdiffusion >>
rect 2 93 7 94
rect 6 54 7 93
rect 9 55 10 94
rect 14 74 15 94
rect 17 74 21 94
rect 23 93 29 94
rect 23 74 24 93
rect 28 74 29 93
rect 31 74 35 94
rect 37 93 43 94
rect 37 74 38 93
rect 42 74 43 93
rect 45 93 50 94
rect 45 74 46 93
rect 54 93 59 94
rect 58 74 59 93
rect 61 74 64 94
rect 66 93 74 94
rect 66 74 68 93
rect 72 84 74 93
rect 76 84 79 94
rect 81 93 87 94
rect 81 84 82 93
rect 72 74 73 84
rect 9 54 14 55
rect 86 54 87 93
rect 89 93 94 94
rect 89 54 90 93
<< ndcontact >>
rect 2 6 6 25
rect 10 6 14 25
rect 24 6 28 15
rect 37 6 41 15
rect 46 6 50 15
rect 54 6 58 15
rect 68 6 72 15
rect 82 6 86 25
rect 90 6 94 25
<< pdcontact >>
rect 2 54 6 93
rect 10 55 14 94
rect 24 74 28 93
rect 38 74 42 93
rect 46 74 50 93
rect 54 74 58 93
rect 68 74 72 93
rect 82 54 86 93
rect 90 54 94 93
<< psubstratepcontact >>
rect -2 -2 2 2
rect 14 -2 18 2
rect 30 -2 34 2
rect 46 -2 50 2
rect 62 -2 66 2
rect 78 -2 82 2
<< nsubstratencontact >>
rect -2 98 2 102
rect 14 98 18 102
rect 30 98 34 102
rect 46 98 50 102
rect 62 98 66 102
rect 78 98 82 102
<< polysilicon >>
rect 7 94 9 96
rect 15 94 17 96
rect 21 94 23 96
rect 29 94 31 96
rect 35 94 37 96
rect 43 94 45 96
rect 59 94 61 96
rect 64 94 66 96
rect 74 94 76 96
rect 79 94 81 96
rect 87 94 89 96
rect 7 37 9 54
rect 15 46 17 74
rect 7 26 9 33
rect 15 16 17 42
rect 21 38 23 74
rect 29 54 31 74
rect 29 29 31 50
rect 20 27 31 29
rect 35 71 37 74
rect 20 16 22 27
rect 35 23 37 67
rect 43 61 45 74
rect 59 73 61 74
rect 50 71 61 73
rect 30 19 31 23
rect 29 16 31 19
rect 34 19 35 23
rect 34 16 36 19
rect 43 16 45 57
rect 49 19 51 67
rect 64 63 66 74
rect 74 67 76 84
rect 72 65 76 67
rect 59 61 66 63
rect 57 24 59 33
rect 64 31 66 61
rect 79 53 81 84
rect 75 51 81 53
rect 74 31 76 47
rect 87 45 89 54
rect 85 41 89 45
rect 64 29 71 31
rect 57 22 66 24
rect 49 17 61 19
rect 59 16 61 17
rect 64 16 66 22
rect 69 19 71 29
rect 74 27 75 31
rect 69 17 76 19
rect 74 16 76 17
rect 79 16 81 31
rect 87 26 89 41
rect 7 4 9 6
rect 15 4 17 6
rect 20 4 22 6
rect 29 4 31 6
rect 34 4 36 6
rect 43 4 45 6
rect 59 4 61 6
rect 64 4 66 6
rect 74 4 76 6
rect 79 4 81 6
rect 87 4 89 6
<< polycontact >>
rect 13 42 17 46
rect 6 33 10 37
rect 27 50 31 54
rect 21 34 25 38
rect 35 67 39 71
rect 41 57 45 61
rect 26 19 30 23
rect 35 19 39 23
rect 49 67 53 71
rect 55 59 59 63
rect 70 61 74 65
rect 55 33 59 37
rect 73 47 77 51
rect 81 41 85 45
rect 75 27 79 31
<< metal1 >>
rect -2 102 98 103
rect 2 98 14 102
rect 18 98 30 102
rect 34 98 46 102
rect 50 98 62 102
rect 66 98 78 102
rect 82 98 98 102
rect -2 97 98 98
rect 10 94 14 97
rect 2 93 6 94
rect 24 93 28 94
rect 18 74 24 77
rect 38 93 42 97
rect 46 93 50 94
rect 54 93 58 97
rect 67 93 73 94
rect 67 74 68 93
rect 72 74 73 93
rect 82 93 86 97
rect 46 71 49 74
rect 39 68 49 71
rect 22 57 41 60
rect 48 60 55 63
rect 48 54 51 60
rect 67 56 70 65
rect 6 50 27 52
rect 31 51 51 54
rect 58 53 70 56
rect 90 93 94 94
rect 2 49 30 50
rect 34 46 38 47
rect 17 43 38 46
rect 10 34 21 37
rect 58 37 61 53
rect 90 51 94 54
rect 77 48 94 51
rect 70 41 81 44
rect 25 34 55 37
rect 10 33 14 34
rect 2 25 6 26
rect 10 25 14 26
rect 27 23 30 34
rect 59 34 61 37
rect 90 31 94 48
rect 79 28 94 31
rect 90 25 94 28
rect 39 19 49 22
rect 46 16 49 19
rect 18 15 28 16
rect 18 13 24 15
rect 37 15 42 16
rect 41 6 42 15
rect 46 15 50 16
rect 54 15 58 16
rect 66 15 73 16
rect 66 13 68 15
rect 67 6 68 13
rect 72 6 73 15
rect 10 3 14 6
rect 37 3 42 6
rect 54 3 58 6
rect 82 3 86 6
rect -2 2 98 3
rect 2 -2 14 2
rect 18 -2 30 2
rect 34 -2 46 2
rect 50 -2 62 2
rect 66 -2 78 2
rect 82 -2 98 2
rect -2 -3 98 -2
<< m2contact >>
rect 18 70 22 74
rect 66 70 70 74
rect 18 57 22 61
rect 2 50 6 54
rect 66 40 70 44
rect 2 26 6 30
rect 18 16 22 20
rect 66 16 70 20
<< metal2 >>
rect 18 61 22 70
rect 2 30 6 50
rect 18 20 22 57
rect 66 44 70 70
rect 66 20 70 40
<< labels >>
flabel metal1 4 100 4 100 4 FreeSans 26 0 0 0 vdd
flabel metal1 36 45 36 45 4 FreeSans 26 0 0 0 D
flabel metal1 4 0 4 0 4 FreeSans 26 0 0 0 gnd
flabel metal1 92 45 92 45 4 FreeSans 26 0 0 0 Q
flabel metal1 12 35 12 35 4 FreeSans 26 0 0 0 CLK
<< end >>

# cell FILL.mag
magic
tech scmos
<< nwell >>
rect -8 48 16 105
<< psubstratepcontact >>
rect -2 -2 2 2
rect 6 -2 10 2
<< nsubstratencontact >>
rect -2 98 2 102
rect 6 98 10 102
<< metal1 >>
rect -2 102 10 103
rect 2 98 6 102
rect -2 97 10 98
rect -2 2 10 3
rect 2 -2 6 2
rect -2 -3 10 -2
<< labels >>
flabel metal1 4 100 4 100 4 FreeSans 26 0 0 0 vdd
flabel metal1 4 0 4 0 4 FreeSans 26 0 0 0 gnd
<< end >>

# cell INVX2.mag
magic
tech scmos
<< nwell >>
rect -9 48 26 105
<< ntransistor >>
rect 7 6 9 26
<< ptransistor >>
rect 7 54 9 94
<< ndiffusion >>
rect 2 25 7 26
rect 6 6 7 25
rect 9 25 14 26
rect 9 6 10 25
<< pdiffusion >>
rect 2 93 7 94
rect 6 54 7 93
rect 9 93 14 94
rect 9 54 10 93
<< ndcontact >>
rect 2 6 6 25
rect 10 6 14 25
<< pdcontact >>
rect 2 54 6 93
rect 10 54 14 93
<< psubstratepcontact >>
rect -2 -2 2 2
<< nsubstratencontact >>
rect -2 98 2 102
<< polysilicon >>
rect 7 94 9 96
rect 7 33 9 54
rect 6 29 9 33
rect 7 26 9 29
rect 7 4 9 6
<< polycontact >>
rect 2 29 6 33
<< metal1 >>
rect -2 102 18 103
rect 2 98 18 102
rect -2 97 18 98
rect 2 93 6 97
rect 10 93 14 94
rect 2 33 6 37
rect 2 25 6 26
rect 10 25 14 54
rect 2 3 6 6
rect -2 2 18 3
rect 2 -2 18 2
rect -2 -3 18 -2
<< labels >>
flabel metal1 4 100 4 100 4 FreeSans 26 0 0 0 vdd
flabel metal1 4 0 4 0 4 FreeSans 26 0 0 0 gnd
flabel metal1 12 45 12 45 4 FreeSans 26 0 0 0 Y
flabel metal1 4 35 4 35 4 FreeSans 26 0 0 0 A
<< end >>

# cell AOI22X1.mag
magic
tech scmos
<< nwell >>
rect -8 48 46 105
<< ntransistor >>
rect 9 6 11 26
rect 14 6 16 26
rect 26 6 28 26
rect 31 6 33 26
<< ptransistor >>
rect 7 54 9 94
rect 15 54 17 94
rect 23 54 25 94
rect 31 54 33 94
<< ndiffusion >>
rect 4 25 9 26
rect 8 6 9 25
rect 11 6 14 26
rect 16 25 26 26
rect 16 6 19 25
rect 23 6 26 25
rect 28 6 31 26
rect 33 25 38 26
rect 33 6 34 25
<< pdiffusion >>
rect 2 92 7 94
rect 6 58 7 92
rect 2 54 7 58
rect 9 60 10 94
rect 14 60 15 94
rect 9 54 15 60
rect 17 93 23 94
rect 17 54 18 93
rect 22 54 23 93
rect 25 88 31 94
rect 25 54 26 88
rect 30 54 31 88
rect 33 93 38 94
rect 33 54 34 93
<< ndcontact >>
rect 4 6 8 25
rect 19 6 23 25
rect 34 6 38 25
<< pdcontact >>
rect 2 58 6 92
rect 10 60 14 94
rect 18 54 22 93
rect 26 54 30 88
rect 34 54 38 93
<< psubstratepcontact >>
rect -2 -2 2 2
rect 14 -2 18 2
rect 30 -2 34 2
<< nsubstratencontact >>
rect -2 98 2 102
rect 14 98 18 102
rect 30 98 34 102
<< polysilicon >>
rect 7 94 9 96
rect 15 94 17 96
rect 23 94 25 96
rect 31 94 33 96
rect 7 49 9 54
rect 15 53 17 54
rect 14 51 17 53
rect 4 29 6 47
rect 4 27 11 29
rect 9 26 11 27
rect 14 26 16 51
rect 23 40 25 54
rect 31 53 33 54
rect 31 51 35 53
rect 33 47 34 51
rect 24 39 25 40
rect 24 29 26 39
rect 33 31 35 47
rect 31 29 35 31
rect 24 27 28 29
rect 26 26 28 27
rect 31 26 33 29
rect 9 4 11 6
rect 14 4 16 6
rect 26 4 28 6
rect 31 4 33 6
<< polycontact >>
rect 6 45 10 49
rect 10 37 14 41
rect 34 47 38 51
rect 25 39 29 43
<< metal1 >>
rect -2 102 42 103
rect 2 98 14 102
rect 18 98 30 102
rect 34 98 42 102
rect -2 97 42 98
rect 10 94 14 97
rect 2 92 6 94
rect 18 93 38 94
rect 2 57 6 58
rect 2 54 18 57
rect 22 91 34 93
rect 26 51 29 54
rect 2 45 6 47
rect 19 48 29 51
rect 19 47 22 48
rect 2 44 10 45
rect 2 43 6 44
rect 18 43 22 47
rect 34 43 38 47
rect 10 33 14 37
rect 19 26 22 43
rect 26 37 29 39
rect 26 33 30 37
rect 4 25 8 26
rect 17 25 25 26
rect 17 6 19 25
rect 23 6 25 25
rect 34 25 38 26
rect 4 3 8 6
rect 34 3 38 6
rect -2 2 42 3
rect 2 -2 14 2
rect 18 -2 30 2
rect 34 -2 42 2
rect -2 -3 42 -2
<< labels >>
flabel metal1 4 0 4 0 4 FreeSans 26 0 0 0 gnd
flabel metal1 4 100 4 100 4 FreeSans 26 0 0 0 vdd
flabel metal1 36 45 36 45 4 FreeSans 26 0 0 0 C
flabel metal1 28 35 28 35 4 FreeSans 26 0 0 0 D
flabel metal1 20 45 20 45 4 FreeSans 26 0 0 0 Y
flabel metal1 4 45 4 45 4 FreeSans 26 0 0 0 A
flabel metal1 12 35 12 35 4 FreeSans 26 0 0 0 B
<< end >>

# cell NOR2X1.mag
magic
tech scmos
<< nwell >>
rect -8 48 32 105
<< ntransistor >>
rect 7 6 9 16
rect 15 6 17 16
<< ptransistor >>
rect 7 54 9 94
rect 12 54 14 94
<< ndiffusion >>
rect 2 15 7 16
rect 6 6 7 15
rect 9 15 15 16
rect 9 6 10 15
rect 14 6 15 15
rect 17 15 22 16
rect 17 6 18 15
<< pdiffusion >>
rect 2 93 7 94
rect 6 54 7 93
rect 9 54 12 94
rect 14 93 19 94
rect 14 54 15 93
<< ndcontact >>
rect 2 6 6 15
rect 10 6 14 15
rect 18 6 22 15
<< pdcontact >>
rect 2 54 6 93
rect 15 54 19 93
<< psubstratepcontact >>
rect -2 -2 2 2
rect 14 -2 18 2
<< nsubstratencontact >>
rect -2 98 2 102
rect 14 98 18 102
<< polysilicon >>
rect 7 94 9 96
rect 12 94 14 96
rect 7 23 9 54
rect 12 53 14 54
rect 12 51 17 53
rect 6 19 9 23
rect 7 16 9 19
rect 15 47 18 51
rect 15 16 17 47
rect 7 4 9 6
rect 15 4 17 6
<< polycontact >>
rect 2 19 6 23
rect 18 47 22 51
<< metal1 >>
rect -2 102 26 103
rect 2 98 14 102
rect 18 98 26 102
rect -2 97 26 98
rect 2 93 6 97
rect 15 93 19 94
rect 10 54 15 58
rect 11 37 14 54
rect 18 43 22 47
rect 10 33 14 37
rect 2 23 6 27
rect 11 16 14 33
rect 2 15 6 16
rect 10 15 14 16
rect 18 15 22 16
rect 2 3 6 6
rect 18 3 22 6
rect -2 2 26 3
rect 2 -2 14 2
rect 18 -2 26 2
rect -2 -3 26 -2
<< labels >>
flabel metal1 4 100 4 100 4 FreeSans 26 0 0 0 vdd
flabel metal1 20 45 20 45 4 FreeSans 26 0 0 0 B
flabel metal1 4 0 4 0 4 FreeSans 26 0 0 0 gnd
flabel metal1 12 35 12 35 4 FreeSans 26 0 0 0 Y
flabel metal1 4 25 4 25 4 FreeSans 26 0 0 0 A
<< end >>

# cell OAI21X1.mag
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
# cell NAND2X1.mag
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
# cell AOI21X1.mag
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
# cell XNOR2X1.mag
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
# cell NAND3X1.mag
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
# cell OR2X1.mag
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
